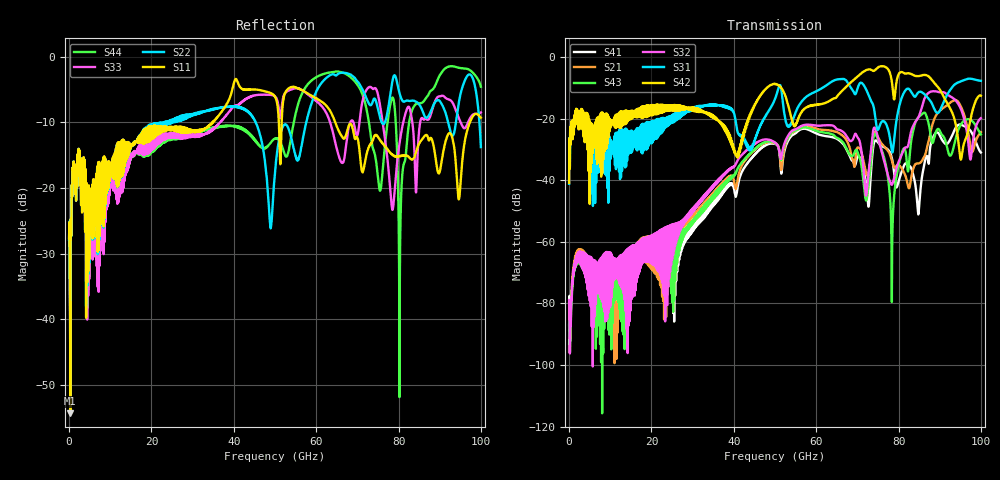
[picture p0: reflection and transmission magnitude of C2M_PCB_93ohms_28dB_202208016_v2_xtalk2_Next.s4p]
! Info: Touchstone file created by Circ.  Input file=Intel_C2M_200G_12p0in_202208016_staggered.circ
# Hz S RI R 50
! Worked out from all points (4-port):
!   10000 points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, 10 MHz to 100 GHz, reference 50 ohm
!   strongest paths, dB at 10 MHz, 25.01 GHz, 50.01 GHz, 75.01 GHz, 100 GHz:
!     S42: -40.8, -16.8, -8.7, -3.4, -12.5
!     S31: -41.2, -20.7, -13.6, -23.6, -7.7
!     S32: -78.8, -62.0, -27.8, -26.1, -19.8
!     S43: -86.9, -65.6, -27.9, -26.8, -25.1
!     S21: -79.8, -65.4, -28.0, -26.0, -24.4
!     S41: -95.6, -67.0, -28.2, -27.7, -31.0
!   lowest |S11| = -54.3 dB at 290 MHz (marker M1), VSWR 1.00, Z = 50.2 - j0.079 ohm
!   |S11| at or under -10 dB: start of sweep to 34.85 GHz; 50.94 GHz to 51.62 GHz (678.3 MHz wide, 1.32 % of centre); 64.63 GHz to 97.33 GHz (32.7 GHz wide, 40.4 % of centre)
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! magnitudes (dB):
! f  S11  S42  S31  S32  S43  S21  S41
! 10 MHz  -27.6  -40.8  -41.2  -78.8  -86.9  -79.8  -95.6
! 290 MHz  -54.3  -22.7  -22.8  -86.8  -90.1  -86.2  -85.9
! 56.36 GHz  -5.1  -18.0  -14.7  -22.4  -23.0  -22.5  -23.4
! 74.54 GHz  -11.9  -3.9  -21.3  -23.9  -25.3  -24.7  -27.1
! 78.42 GHz  -14.9  -8.4  -30.6  -41.4  -66.1  -33.8  -33.0
! 85.07 GHz  -13.2  -6.2  -11.3  -18.8  -19.3  -34.5  -47.3
! 100 GHz  -9.3  -12.5  -7.7  -19.8  -25.1  -24.4  -31.0
